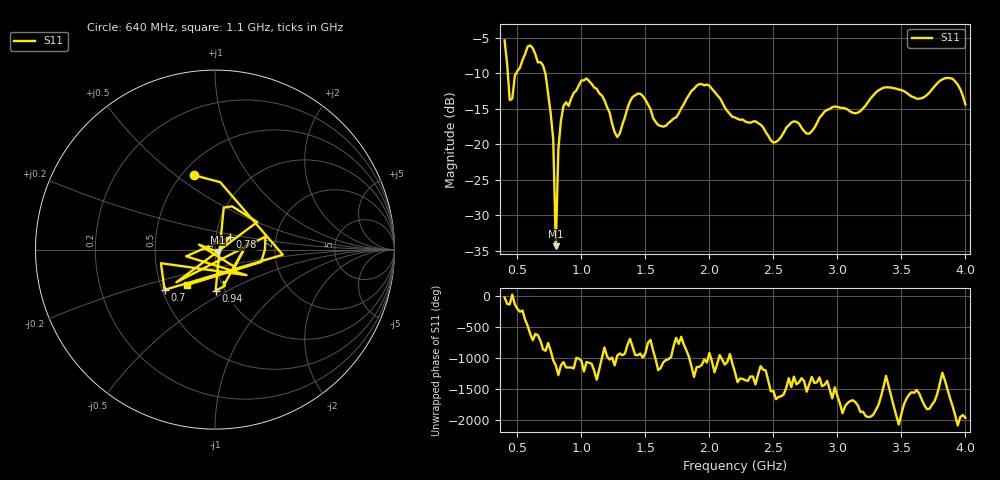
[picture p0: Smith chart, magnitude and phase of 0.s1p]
!Created with skrf (http://scikit-rf.org).
# Hz S RI R 50.0
!freq ReS11 ImS11
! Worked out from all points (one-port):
!   181 points, 400 MHz to 4 GHz, reference 50 ohm
!   lowest |S11| = -34.4 dB at 800 MHz (marker M1), VSWR 1.04, Z = 51.4 - j1.3 ohm
!   |S11| at or under -10 dB: 425 MHz to 490.5 MHz (65.57 MHz wide, 14.3 % of centre); 717.5 MHz to end of sweep
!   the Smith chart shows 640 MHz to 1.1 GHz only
!   S11 on the Smith chart (normalised r, x): 640 MHz: 0.57, +0.58; 700 MHz: 0.51, -0.27; 780 MHz: 1.17, +0.16; 940 MHz: 0.91, -0.44; 1.1 GHz: 0.68, -0.29
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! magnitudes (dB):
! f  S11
! 400 MHz  -5.4
! 440 MHz  -13.8
! 580 MHz  -6.2
! 640 MHz  -7.3
! 700 MHz  -8.9
! 780 MHz  -19.4
! 800 MHz  -34.4
! 820 MHz  -20.7
! 860 MHz  -14.6
! 940 MHz  -12.8
! 1.04 GHz  -10.7
! 1.1 GHz  -12.0
! 1.3 GHz  -18.5
! 1.44 GHz  -12.9
! 1.6 GHz  -17.3
! 1.76 GHz  -15.7
! 1.94 GHz  -11.5
! 2.2 GHz  -16.2
! 2.36 GHz  -16.8
! 2.5 GHz  -19.8
! 2.66 GHz  -16.8
! 2.78 GHz  -18.5
! 2.92 GHz  -15.2
! 3.1 GHz  -15.4
! 3.36 GHz  -12.0
! 3.56 GHz  -13.0
! 3.88 GHz  -10.7
! 4 GHz  -14.4
